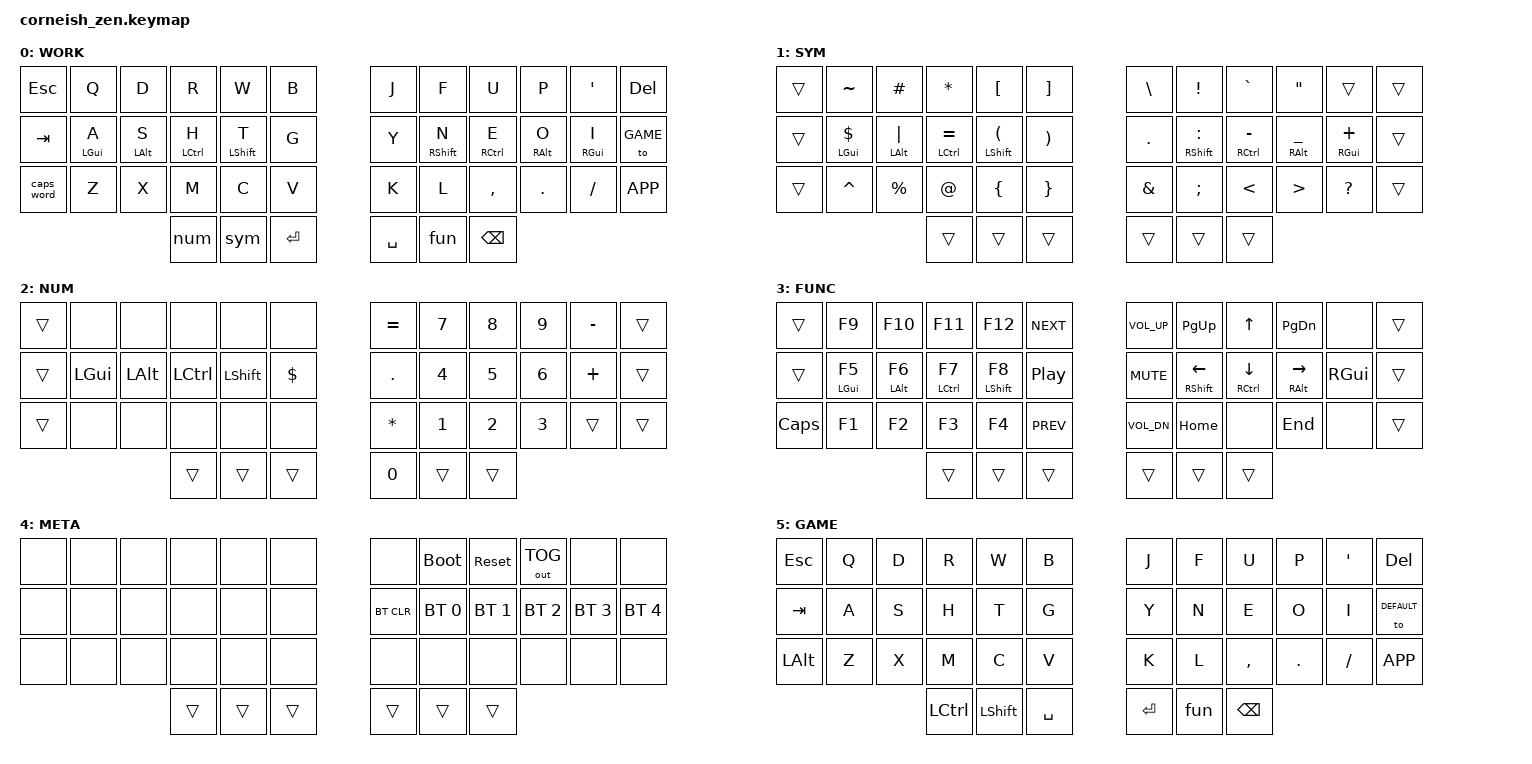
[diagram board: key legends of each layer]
/*
*
* Micah Loffer <micah.loffer@pm.com>
* For Corneish Zen v2
*
*/

#include <behaviors.dtsi>
#include <dt-bindings/zmk/keys.h>
#include <dt-bindings/zmk/bt.h>
#include <dt-bindings/zmk/outputs.h>

// Layer aliases
#define DEFAULT 0
#define SYM 1
#define NUM 2
#define FUN 3
#define META 4
#define GAME 5

//  0  1  2  3  4  5     6  7  8  9 10 11
// 12 13 14 15 16 17    18 19 20 21 22 23
// 24 25 26 27 28 29    30 31 32 33 34 35
//          36 37 38    39 40 41
#define LEFT_HAND <0 1 2 3 4 5 12 13 14 15 16 17 24 25 26 27 28 29>
#define RIGHT_HAND <6 7 8 9 10 11 18 19 20 21 22 23 30 31 32 33 34 35>

//&lt {
//    flavor = "balanced";
//    tapping-term-ms = <300>;
//    quick_tap_ms = <200>;
//};

&caps_word {
    continue-list = <UNDERSCORE MINUS>;
};

/ {
    chosen {
        zmk,matrix_transform = &default_transform;
    };
};

/ {
    behaviors {
        hm: homerow_mods {
            compatible = "zmk,behavior-hold-tap";
            label = "HOMEROW_MODS";
            #binding-cells = <2>;
            tapping-term-ms = <200>;
            quick_tap_ms = <125>;
            global-quick-tap;
            flavor = "tap-preferred";
            bindings = <&kp>, <&kp>;
        };

        // allow locking layer with double tap
        sym: symbol_layer {
            compatible = "zmk,behavior-tap-dance";
            label = "SYMBOL_LAYER";
            #binding-cells = <0>;
            tapping-term-ms = <200>;
            bindings = <&mo SYM>, <&to SYM>;
        };
        fun: function_layer {
            compatible = "zmk,behavior-tap-dance";
            label = "FUNCTION_LAYER";
            #binding-cells = <0>;
            tapping-term-ms = <200>;
            bindings = <&mo FUN>, <&to FUN>;
        };
        num: numpad_layer {
            compatible = "zmk,behavior-tap-dance";
            label = "NUMPAD_LAYER";
            #binding-cells = <0>;
            tapping-term-ms = <200>;
            bindings = <&mo NUM>, <&to NUM>;
        };
    };

    conditional_layers {
        compatible = "zmk,conditional-layers";
        meta_layer {
            if-layers = <NUM SYM>;
            then-layer = <META>;
        };
    };

    keymap {
        compatible = "zmk,keymap";

        default_layer {
            label = "WORK";
// -----------------------------------------------------------------------------------------
// |  ⎋  |  Q  |  D  |  R  |  W  |  B  |     |  J  |  F  |  U  |  P  |  '  |  ⌦  |
// | TAB |  A  |  S  |  H  |  T  |  G  |     |  Y  |  N  |  E  |  O  |  I  | GAME|
// |  ⇪  |  Z  |  X  |  M  |  C  |  V  |     |  K  |  L  |  ,  |  .  |  /  | APP |
//                   | NUM | SYM |  ⏎  |     | SPC | FUN |  ⌫  |
            bindings = <
&kp ESC    &kp Q &kp D &kp R &kp W &kp B                          &kp J &kp F  &kp U     &kp P   &kp SQT &kp DEL
&kp TAB    &hm LGUI A &hm LALT S &hm LCTRL H &hm LSHFT T &kp G    &kp Y &hm RSHFT N  &hm RCTRL E &hm RALT O &hm RGUI I &to GAME
&caps_word &kp Z &kp X &kp M &kp C &kp V                          &kp K &kp L  &kp COMMA &kp DOT &kp FSLH &kp K_APP
                        &num &sym &kp RET         &kp SPACE &fun &kp BSPC
            >;
        };

        symbol_layer {
            label = "SYM";
// -----------------------------------------------------------------------------------------
// |  ⎋  |  ~  |  #  |  *  |  [  |  ]  |     |  \  |  !  |  `  |  "  |  '  |  ⌦  |
// | TAB |  $  |  |  |  =  |  (  |  )  |     |  .  |  :  |  -  |  _  |  +  |     |
// |  ⇪  |  ^  |  %  |  @  |  {  |  }  |     |  &  |  ;  |  <  |  >  |  ?  | APP |
//                   | NUM | SYM | RET |     | SPC | FUN |  ⌫  |
            bindings = <
&trans &kp TILDE &kp HASH  &kp ASTRK &kp LBKT &kp RBKT                           &kp BSLH &kp EXCL        &kp GRAVE       &kp DQT &trans  &trans
&trans &hm LGUI DLLR &hm LALT PIPE &hm LCTRL EQUAL &hm LSHFT LPAR &kp RPAR       &kp DOT &hm RSHFT COLON &hm RCTRL MINUS &hm RALT UNDER &hm RGUI PLUS &trans
&trans &kp CARET &kp PRCNT &kp AT    &kp LBRC &kp RBRC                           &kp AMPS &kp SEMI        &kp LT          &kp GT  &kp QMARK &trans
                                            &trans    &trans &trans     &trans &trans &trans
            >;
        };

        numpad_layer {
            label = "NUM";
// -----------------------------------------------------------------------------------------
// |  ⎋  |     |     |     |     |     |     |  =  |  7  |  8  |  9  |  -  |  ⌦  |
// | TAB | GUI | ALT |CTRL |SHFT |  $  |     |  .  |  4  |  5  |  6  |  +  |     |
// |  ⇪  |     |     |     |     |     |     |  *  |  1  |  2  |  3  |  /  | APP |
//                   | NUM | SYM |  ⏎  |     |  0  | FUN |  ⌫  |
            bindings = <
&trans &none &none &none &none &none                     &kp EQUAL &kp N7 &kp N8 &kp N9 &kp MINUS &trans
&trans &kp LGUI &kp LALT &kp LCTRL &kp LSHFT &kp DLLR    &kp DOT   &kp N4 &kp N5 &kp N6 &kp PLUS  &trans
&trans &none &none &none     &none     &none             &kp STAR  &kp N1 &kp N2 &kp N3 &trans    &trans
                       &trans    &trans &trans           &kp N0 &trans &trans
            >;
        };

        function_layer {
            label = "FUNC";
// -----------------------------------------------------------------------------------------
// | ESC  | F9 | F10 | F11 | F12 | NEXT |     | VOLUP | PGUP |  UP  |  PGDN  |     |  ⌦  |
// | TAB  | F5 | F6  | F7  | F8  | PP   |     | MUTE  | LEFT |  DN  |  RIGHT | GUI |     |
// | CAPS | F1 | F2  | F3  | F4  | PREV |     | VOLDN | HOME |      |  END   |     | APP |
//                    | NUM | SYM | RET |     | SPC | FUN | BSPC |
            bindings = <
&trans   &kp F9 &kp F10 &kp F11 &kp F12 &kp C_NEXT                        &kp C_VOL_UP &kp PG_UP &kp UP   &kp PG_DN &none &trans
&trans   &hm LGUI F5 &hm LALT F6 &hm LCTRL F7 &hm LSHFT F8  &kp C_PP      &kp C_MUTE   &hm RSHFT LEFT &hm RCTRL DOWN &hm RALT RIGHT &kp RGUI &trans
&kp CAPS &kp F1 &kp F2  &kp F3  &kp F4  &kp C_PREV                        &kp C_VOL_DN &kp HOME  &none    &kp END   &none &trans
&trans &trans   &trans    &trans   &trans  &trans
            >;
        };

        meta_layer {
            label = "META";
// -----------------------------------------------------------------------------------------
// |     |     |     |     |     |     |    |     |BOOT | RST | OUT |     |     |
// |     |     |     |     |     |     |    |BTCLR| BT1 | BT2 | BT3 | BT4 | BT5 |
// |     |     |     |     |     |     |    |     |     |     |     |     |     |
//                   | NUM | SYM | RET |    | SPC | FUN | BSPC |
            bindings = <
&none &none &none &none &none &none   &none &bootloader &sys_reset &out OUT_TOG &none &none
&none &none &none &none &none &none   &bt BT_CLR &bt BT_SEL 0 &bt BT_SEL 1 &bt BT_SEL 2 &bt BT_SEL 3 &bt BT_SEL 4
&none &none &none &none &none &none   &none &none &none &none &none &none
               &trans &trans &trans   &trans &trans &trans
            >;
        };

        game_layer {
            label = "GAME";
// -----------------------------------------------------------------------------------------
// |  ⎋  |  Q  |  D  |  R  |  W  |  B  |     |  J  |  F  |  U  |  P  |  '  |  ⌦  |
// | TAB |  A  |  S  |  H  |  T  |  G  |     |  Y  |  N  |  E  |  O  |  I  |     |
// | ALT |  Z  |  X  |  M  |  C  |  V  |     |  K  |  L  |  ,  |  .  |  /  | APP |
//                   | CTRL| SHFT| SPC |     |  ⏎  | FUN |  ⌫  |
            bindings = <
&kp ESC    &kp Q &kp D &kp R &kp W &kp B                          &kp J &kp F  &kp U     &kp P   &kp SQT &kp DEL
&kp TAB    &kp A &kp S &kp H &kp T &kp G    &kp Y &kp N  &kp E &kp O &kp I &to DEFAULT
&kp LALT &kp Z &kp X &kp M &kp C &kp V                          &kp K &kp L  &kp COMMA &kp DOT &kp FSLH &kp K_APP
        &kp LCTRL &kp LSHFT &kp SPACE         &kp RET &fun &kp BSPC
            >;
        };


    };
};
